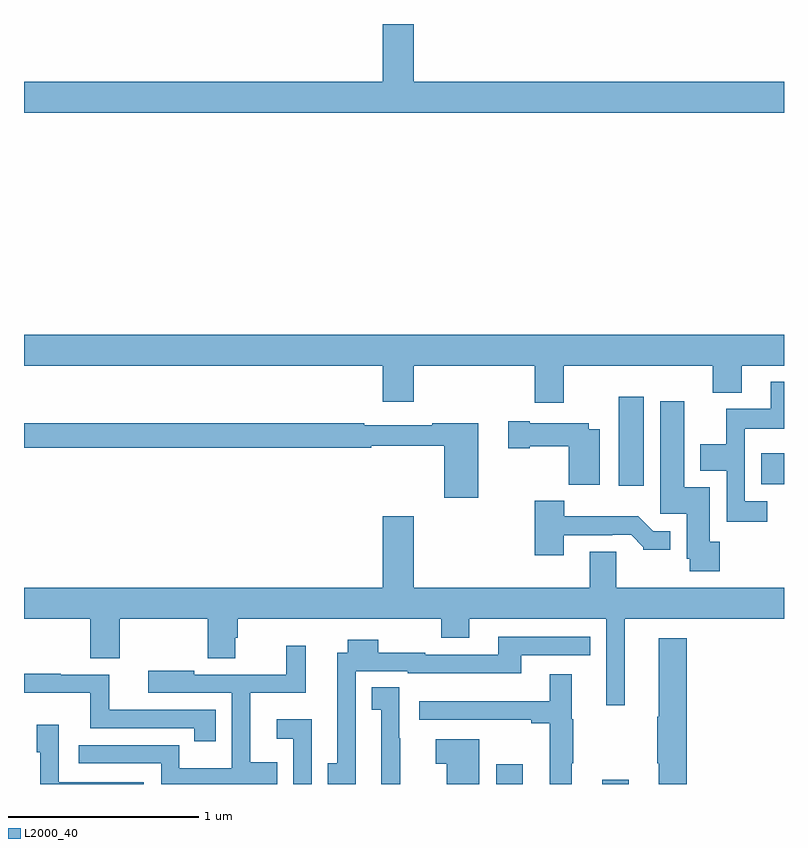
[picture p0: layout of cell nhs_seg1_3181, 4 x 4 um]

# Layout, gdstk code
import gdstk
lib = gdstk.Library(unit=1e-6, precision=1e-09)
def R(c, l, rs):  # rectangles x0, y0, x1, y1
    for r in rs: c.add(gdstk.rectangle(r[:2], r[2:], *l))
def P(c, l, *ps):  # polygons
    for p in ps: c.add(gdstk.Polygon(p, *l))
L2000_40 = (2000, 40)

nhs_seg1_3181 = lib.new_cell('nhs_seg1_3181')
R(nhs_seg1_3181, L2000_40, [(285.485,548.199,285.625,548.302), (286.043,548.199,286.183,548.221), (286.13,549.768,286.261,550.237), (286.879,549.776,287,549.94)])
P(nhs_seg1_3181, L2000_40, [(287,551.896),(285.052,551.896),(285.052,552.199),(284.888,552.199),(284.888,551.896),(283,551.896),(283,551.732),(287,551.732)],
  [(285.841,550.4),(286.625,550.4),(286.625,550.259),(286.777,550.259),(286.777,550.4),(287,550.4),(287,550.564),(283,550.564),(283,550.4),(284.888,550.4),(284.888,550.212),(285.052,550.212),(285.052,550.4),(285.689,550.4),(285.689,550.206),(285.841,550.206)],
  [(286.912,549.687),(286.794,549.687),(286.794,550.07),(287,550.07),(287,550.315),(286.931,550.315),(286.931,550.174),(286.696,550.174),(286.696,549.988),(286.559,549.988),(286.559,549.848),(286.698,549.848),(286.698,549.579),(286.912,549.579)],
  [(286.661,549.474),(286.609,549.474),(286.609,549.76),(286.474,549.76),(286.474,550.213),(286.349,550.213),(286.349,549.621),(286.487,549.621),(286.487,549.384),(286.504,549.384),(286.504,549.318),(286.661,549.318)],
  [(286.03,550.066),(285.972,550.066),(285.972,550.099),(285.661,550.099),(285.661,550.107),(285.549,550.107),(285.549,549.965),(285.661,549.965),(285.661,549.977),(285.868,549.977),(285.868,549.773),(286.03,549.773)],
  [(285.39,550.099),(285.148,550.099),(285.148,550.086),(284.792,550.086),(284.792,550.099),(283,550.099),(283,549.97),(284.828,549.97),(284.828,549.978),(285.212,549.978),(285.212,549.705),(285.39,549.705)],
  [(285.841,549.507),(286.097,549.507),(286.097,549.51),(286.196,549.51),(286.26,549.446),(286.26,549.431),(286.402,549.431),(286.402,549.528),(286.311,549.528),(286.233,549.607),(285.844,549.607),(285.844,549.691),(285.689,549.691),(285.689,549.402),(285.841,549.402)],
  [(285.052,549.607),(284.888,549.607),(284.888,549.232),(283,549.232),(283,549.068),(283.348,549.068),(283.348,548.86),(283.503,548.86),(283.503,549.068),(283.966,549.068),(283.966,548.86),(284.113,548.86),(284.113,548.97),(284.126,548.97),(284.126,549.068),(285.196,549.068),(285.196,548.969),(285.343,548.969),(285.343,549.068),(286.065,549.068),(286.065,548.613),(286.162,548.613),(286.162,549.068),(287,549.068),(287,549.232),(286.117,549.232),(286.117,549.422),(285.977,549.422),(285.977,549.232),(285.052,549.232)],
  [(284.746,548.51),(284.745,548.51),(284.745,548.793),(285.021,548.793),(285.021,548.783),(285.616,548.783),(285.616,548.877),(285.98,548.877),(285.98,548.973),(285.497,548.973),(285.497,548.88),(285.111,548.88),(285.111,548.89),(284.865,548.89),(284.865,548.959),(284.705,548.959),(284.705,548.889),(284.648,548.889),(284.648,548.307),(284.599,548.307),(284.599,548.199),(284.746,548.199)],
  [(286.487,548.965),(286.34,548.965),(286.34,548.552),(286.333,548.552),(286.333,548.308),(286.34,548.308),(286.34,548.199),(286.487,548.199)],
  [(284.333,548.314),(284.191,548.314),(284.191,548.678),(284.482,548.678),(284.482,548.926),(284.38,548.926),(284.38,548.775),(283.897,548.775),(283.897,548.794),(283.653,548.794),(283.653,548.679),(284.094,548.679),(284.094,548.281),(283.818,548.281),(283.818,548.402),(283.715,548.402),(283.715,548.403),(283.287,548.403),(283.287,548.307),(283.722,548.307),(283.722,548.199),(284.333,548.199)],
  [(284.009,548.589),(283.448,548.589),(283.448,548.775),(283.194,548.775),(283.194,548.78),(283,548.78),(283,548.678),(283.349,548.678),(283.349,548.493),(283.896,548.493),(283.896,548.424),(284.009,548.424)],
  [(285.883,548.308),(285.891,548.308),(285.891,548.541),(285.883,548.541),(285.883,548.776),(285.767,548.776),(285.767,548.635),(285.081,548.635),(285.081,548.538),(285.493,548.538),(285.493,548.536),(285.671,548.536),(285.671,548.518),(285.767,548.518),(285.767,548.199),(285.883,548.199)],
  [(284.979,548.441),(284.976,548.441),(284.976,548.708),(284.83,548.708),(284.83,548.59),(284.879,548.59),(284.879,548.199),(284.979,548.199)],
  [(284.514,548.539),(284.331,548.539),(284.331,548.438),(284.418,548.438),(284.418,548.199),(284.514,548.199)],
  [(283.629,548.208),(283.182,548.208),(283.182,548.512),(283.067,548.512),(283.067,548.367),(283.086,548.367),(283.086,548.199),(283.629,548.199)],
  [(285.397,548.434),(285.168,548.434),(285.168,548.305),(285.224,548.305),(285.224,548.199),(285.397,548.199)])

lib.write_gds('nhs_seg1_3181.gds')
